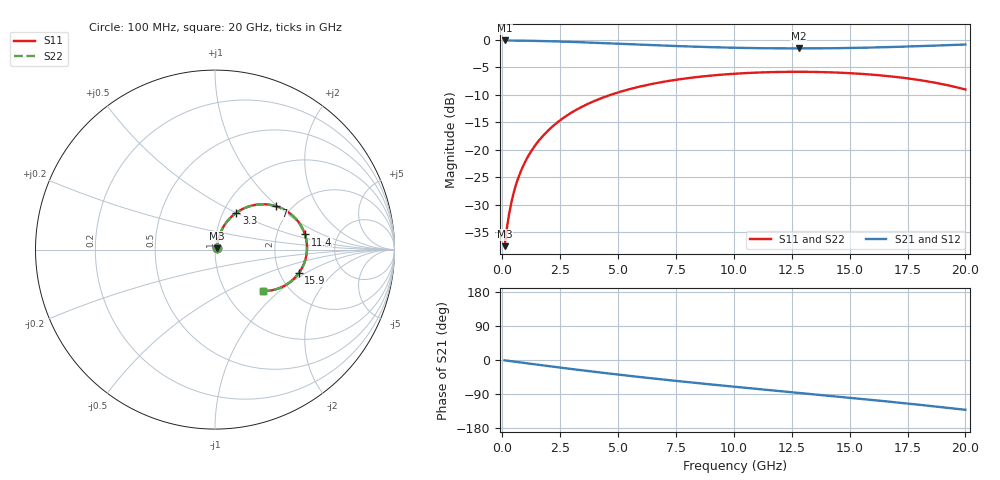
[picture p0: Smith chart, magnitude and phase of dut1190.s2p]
! Touchstone file exported from HFSS 2026.1.0
!  File:  C:/ffzhzh/LocalFiles/Ansys_Project_Files/temp_train_TSV_RDL_1190_1783317010_30076.aedt
!  Generated:  02:00:22 PM Jul  6, 2026
!  Design:  TSV_RDL
!  Project:  temp_train_TSV_RDL_1190_1783317010_30076
! Variables:
!  h_bsmrdl = 5.15um
!  h_ox = 20um
!  h_rdl = 5um
!  h_sub = 64.32um
!  h_tmrdl = 3.55um
!  h_tsv = 64.32um
!  h_via = 3um
!  l_bsmrdl = 404.29um
!  l_sub = 2297.4um
!  l_tmrdl = 147.38um
!  m_sub = 200um
!  pitch = 45um
!  r_tsv = 9.36um
!  s_tmrdl = 10um
!  w_bsmrdl = 17.77um
!  w_sub = 500um
!  w_tmrdl = 13.9um
!  x_tsv_center1 = 154.33um
!  x_tsv_center2 = 576.39um
!  x_tsv_center3 = 737.67um
!  x_tsv_center4 = 1159.73um
!  x_tsv_center5 = 1321.01um
!  x_tsv_center6 = 1743.07um
# GHz S MA R 50.000000
! Terminal data exported
! Port[1] = TM_RDL1_1_T1
! Port[2] = TM_RDL5_1_T1
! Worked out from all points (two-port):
!   200 points, 100 MHz to 20 GHz, reference 50 ohm
!   highest |S21| = -0.09 dB at 100 MHz (marker M1); lowest = -1.5 dB at 12.8 GHz (marker M2)
!   |S21| within 3 dB of the highest: start of sweep to end of sweep
!   lowest |S11| = -37.6 dB at 100 MHz (marker M3), VSWR 1.03, Z = 51.1 + j0.825 ohm
!   |S11| at or under -10 dB: start of sweep to 4.678 GHz
!   |S22| runs from -37.6 to -5.8 dB; largest |S21 - S12| = 3.9e-13
!   S11 on the Smith chart (normalised r, x): 100 MHz: 1.02, +0.02; 3.3 GHz: 1.15, +0.50; 7 GHz: 1.67, +0.98; 11.4 GHz: 2.90, +0.66; 15.9 GHz: 2.53, -0.87; 20 GHz: 1.48, -0.78
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0.1  0.01322 37.7  0.9896 -0.8  0.9896 -0.8  0.01322 37.7
! Gamma 0 0 0 0
! Port Impedance 50 0 50 0
0.2  0.01942 55.0  0.9892 -1.7  0.9892 -1.7  0.01942 55.0
0.3  0.02644 63.1  0.9888 -2.5  0.9888 -2.5  0.02644 63.1
0.5  0.04117 69.7  0.9878 -4.1  0.9878 -4.1  0.04117 69.7
0.8  0.0636 72.5  0.986 -6.6  0.986 -6.6  0.0636 72.5
1.1  0.08594 72.6  0.9837 -9.0  0.9837 -9.0  0.08594 72.6
1.5  0.1153 71.2  0.98 -12.2  0.98 -12.2  0.1153 71.2
2  0.1511 68.5  0.9743 -16.1  0.9743 -16.1  0.1511 68.5
2.6  0.1923 64.6  0.966 -20.8  0.966 -20.8  0.1923 64.6
3.3  0.2374 59.9  0.9549 -26.1  0.9549 -26.1  0.2374 59.9
3.5  0.2497 58.5  0.9515 -27.6  0.9515 -27.6  0.2497 58.5
5  0.3326 48.3  0.9242 -38.5  0.9242 -38.5  0.3326 48.3
6.8  0.4099 36.7  0.8917 -50.6  0.8917 -50.6  0.4099 36.7
7  0.417 35.4  0.8884 -51.9  0.8884 -51.9  0.417 35.4
10.1  0.4934 16.9  0.8486 -71.0  0.8486 -71.0  0.4934 16.9
11.4  0.5079 9.5  0.8402 -78.7  0.8402 -78.7  0.5079 9.5
12.8  0.5129 1.7  0.8373 -86.8  0.8373 -86.8  0.5129 1.7
13.4  0.5116 -1.7  0.8379 -90.2  0.8379 -90.2  0.5116 -1.7
15.9  0.4843 -15.9  0.8527 -105.0  0.8527 -105.0  0.4843 -15.9
16.7  0.4676 -20.5  0.8612 -109.9  0.8612 -109.9  0.4676 -20.6
18.4  0.4183 -30.8  0.8839 -120.7  0.8839 -120.7  0.4183 -30.8
20  0.3536 -40.9  0.9089 -131.5  0.9089 -131.5  0.3536 -40.9
